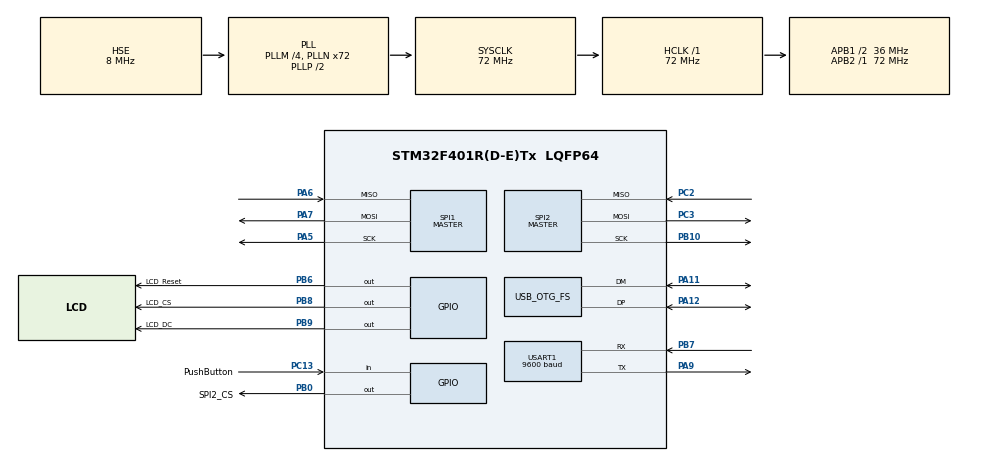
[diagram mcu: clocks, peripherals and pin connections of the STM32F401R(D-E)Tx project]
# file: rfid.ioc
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FATFS._MAX_SS=4096
FATFS._USE_LFN=2
FREERTOS.Tasks01=defaultTask,0,128,StartDefaultTask,Default,NULL,Dynamic,NULL,NULL
FREERTOS.configUSE_IDLE_HOOK=1
FREERTOS.configUSE_NEWLIB_REENTRANT=1
Mcu.Family=STM32F4
Mcu.Name=STM32F401R(D-E)Tx
Mcu.Package=LQFP64
NVIC.OTG_FS_IRQn=true\:5\:0\:false\:false\:true\:true\:false\:true
NVIC.PriorityGroup=NVIC_PRIORITYGROUP_4
NVIC.TIM1_UP_TIM10_IRQn=true\:15\:0\:false\:false\:true\:false\:false\:true
NVIC.TimeBase=TIM1_UP_TIM10_IRQn
NVIC.TimeBaseIP=TIM1
NVIC.USART1_IRQn=true\:5\:0\:false\:false\:true\:true\:true\:true
PA11.Mode=Device_Only
PA11.Signal=USB_OTG_FS_DM
PA12.Mode=Device_Only
PA12.Signal=USB_OTG_FS_DP
PA13.GPIO_Label=TMS
PA13.Mode=Serial_Wire
PA13.Signal=SYS_JTMS-SWDIO
PA14.GPIO_Label=TCK
PA14.Mode=Serial_Wire
PA14.Signal=SYS_JTCK-SWCLK
PA5.Mode=Full_Duplex_Master
PA5.Signal=SPI1_SCK
PA6.Mode=Full_Duplex_Master
PA6.Signal=SPI1_MISO
PA7.Mode=Full_Duplex_Master
PA7.Signal=SPI1_MOSI
PA9.Mode=Asynchronous
PA9.Signal=USART1_TX
PB0.GPIO_Label=SPI2_CS
PB0.Signal=GPIO_Output
PB10.Mode=Full_Duplex_Master
PB10.Signal=SPI2_SCK
PB3.GPIO_Label=SWO
PB3.Signal=SYS_JTDO-SWO
PB6.GPIO_Label=LCD_Reset
PB6.Signal=GPIO_Output
PB7.Mode=Asynchronous
PB7.Signal=USART1_RX
PB8.GPIO_Label=LCD_CS
PB8.Signal=GPIO_Output
PB9.GPIO_Label=LCD_DC
PB9.Signal=GPIO_Output
PC13-ANTI_TAMP.GPIO_Label=PushButton
PC13-ANTI_TAMP.Signal=GPIO_Input
PC14-OSC32_IN.Mode=LSE-External-Oscillator
PC14-OSC32_IN.Signal=RCC_OSC32_IN
PC15-OSC32_OUT.Mode=LSE-External-Oscillator
PC15-OSC32_OUT.Signal=RCC_OSC32_OUT
PC2.Mode=Full_Duplex_Master
PC2.Signal=SPI2_MISO
PC3.Mode=Full_Duplex_Master
PC3.Signal=SPI2_MOSI
PH0\ -\ OSC_IN.Mode=HSE-External-Clock-Source
PH0\ -\ OSC_IN.Signal=RCC_OSC_IN
PH1\ -\ OSC_OUT.Mode=HSE-External-Clock-Source
PH1\ -\ OSC_OUT.Signal=RCC_OSC_OUT
ProjectManager.HeapSize=0x200
ProjectManager.StackSize=0x400
ProjectManager.TargetToolchain=STM32CubeIDE
RCC.48MHZClocksFreq_Value=48000000
RCC.AHBFreq_Value=72000000
RCC.APB1CLKDivider=RCC_HCLK_DIV2
RCC.APB1Freq_Value=36000000
RCC.APB1TimFreq_Value=72000000
RCC.APB2Freq_Value=72000000
RCC.APB2TimFreq_Value=72000000
RCC.CortexFreq_Value=72000000
RCC.HCLKFreq_Value=72000000
RCC.HSE_VALUE=8000000
RCC.HSI_VALUE=16000000
RCC.PLLM=4
RCC.PLLN=72
RCC.PLLQ=3
RCC.RCC_RTC_Clock_Source=RCC_RTCCLKSOURCE_LSE
RCC.RCC_RTC_Clock_SourceVirtual=RCC_RTCCLKSOURCE_LSE
RCC.SYSCLKFreq_VALUE=72000000
RCC.SYSCLKSource=RCC_SYSCLKSOURCE_PLLCLK
RCC.VCOOutputFreq_Value=144000000
SPI1.BaudRatePrescaler=SPI_BAUDRATEPRESCALER_4
SPI1.Direction=SPI_DIRECTION_2LINES
SPI1.Mode=SPI_MODE_MASTER
SPI1.VirtualType=VM_MASTER
SPI2.BaudRatePrescaler=SPI_BAUDRATEPRESCALER_16
SPI2.Direction=SPI_DIRECTION_2LINES
SPI2.Mode=SPI_MODE_MASTER
SPI2.VirtualType=VM_MASTER
USART1.BaudRate=9600
USART1.VirtualMode=VM_ASYNC
USB_DEVICE.CLASS_NAME_FS=CUSTOM_HID
USB_DEVICE.CUSTOM_HID_FS_BINTERVAL=0xA
USB_DEVICE.USBD_CUSTOMHID_OUTREPORT_BUF_SIZE-CUSTOM_HID_FS=64
USB_DEVICE.USBD_CUSTOM_HID_REPORT_DESC_SIZE-CUSTOM_HID_FS=64
USB_DEVICE.VirtualMode-CUSTOM_HID_FS=CustomHid
USB_DEVICE.VirtualModeFS=Custom_Hid_FS
USB_OTG_FS.VirtualMode=Device_Only
VP_FATFS_VS_Generic.Mode=User_defined
VP_FREERTOS_VS_CMSIS_V1.Mode=CMSIS_V1
VP_RTC_VS_RTC_Activate.Mode=RTC_Enabled
VP_SYS_VS_tim1.Mode=TIM1
VP_USB_DEVICE_VS_USB_DEVICE_CUSTOM_HID_FS.Mode=CUSTOM_HID_FS
board=NUCLEO-F401RE

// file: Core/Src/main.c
/* USER CODE BEGIN Header */
/**
  ******************************************************************************
  * @file           : main.c
  * @brief          : Main program body
  ******************************************************************************
  * @attention
  *
  * <h2><center>&copy; Copyright (c) 2021 STMicroelectronics.
  * All rights reserved.</center></h2>
  *
  * This software component is licensed by ST under BSD 3-Clause license,
  * the "License"; You may not use this file except in compliance with the
  * License. You may obtain a copy of the License at:
  *                        opensource.org/licenses/BSD-3-Clause
  *
  ******************************************************************************
  */
/* USER CODE END Header */
#include "main.h"
#include "cmsis_os.h"
#include "fatfs.h"
#include "usb_device.h"
#include "usb_device.h"

/* USER CODE BEGIN PD */
#define configSDHandler_STACK_SIZE	2000
/* USER CODE END PD */

RTC_HandleTypeDef hrtc;

SPI_HandleTypeDef hspi1;
SPI_HandleTypeDef hspi2;

UART_HandleTypeDef huart1;

osThreadId defaultTaskHandle;
/* USER CODE BEGIN PV */
extern _flagsSd flagsSd;

//FATFS fs;
//FIL fil;
//FRESULT fresult;

extern uint8_t textName[16];
extern uint8_t logSentence[17];
uint8_t textRead[10+5+MAXLEN_SURNAME+MAXLEN_NAME+4];
char *temp;
extern uint8_t USB_PC_STATUS;

extern _flagsDisplay flagsDisplay;

uint8_t TickSD;
/* USER CODE END PV */

void SystemClock_Config(void);
static void MX_GPIO_Init(void);
static void MX_USART1_UART_Init(void);
static void MX_RTC_Init(void);
static void MX_SPI1_Init(void);
static void MX_SPI2_Init(void);
void StartDefaultTask(void const * argument);

int main(void)
{

  /* MCU Configuration--------------------------------------------------------*/

  /* Reset of all peripherals, Initializes the Flash interface and the Systick. */
  HAL_Init();

  /* Configure the system clock */
  SystemClock_Config();

  /* Initialize all configured peripherals */
  MX_GPIO_Init();
  MX_USART1_UART_Init();
  MX_RTC_Init();
  MX_SPI1_Init();
  MX_SPI2_Init();
  MX_FATFS_Init();

  /* Create the thread(s) */
  /* definition and creation of defaultTask */
  osThreadDef(defaultTask, StartDefaultTask, osPriorityNormal, 0, 128);
  defaultTaskHandle = osThreadCreate(osThread(defaultTask), NULL);

  /* USER CODE BEGIN RTOS_THREADS */
  /* add threads, ... */

  xTaskCreate((void *)taskSD_Handler		, "Manejo SD"		, configSDHandler_STACK_SIZE, NULL, tskIDLE_PRIORITY+1, NULL);
  xTaskCreate((void *)taskRTC_Handler		, "Manejo RTC"		, configMINIMAL_STACK_SIZE	, NULL, tskIDLE_PRIORITY+2, NULL);
  xTaskCreate((void *)taskDiplay_Handler	, "Manejo Display"	, configMINIMAL_STACK_SIZE	, NULL, tskIDLE_PRIORITY+2, NULL);
  xTaskCreate((void *)taskRfid_Handler		, "Manejo RFID"		, configMINIMAL_STACK_SIZE	, NULL, tskIDLE_PRIORITY+4, NULL);
  xTaskCreate((void *)taskSystem_StateMachine, "Manejo FSM"	, configMINIMAL_STACK_SIZE	, NULL, tskIDLE_PRIORITY+3, NULL);
  ///AGREGADOS POR JUAN

  /* USER CODE END RTOS_THREADS */

  /* Start scheduler */
  osKernelStart();

  /* We should never get here as control is now taken by the scheduler */
  /* Infinite loop */
  /* USER CODE BEGIN WHILE */
  vTaskStartScheduler();

 	while (1)
 	{

    /* USER CODE END WHILE */

 	}
}

void SystemClock_Config(void)
{
  RCC_OscInitTypeDef RCC_OscInitStruct = {0};
  RCC_ClkInitTypeDef RCC_ClkInitStruct = {0};

  /** Configure the main internal regulator output voltage
  */
  __HAL_RCC_PWR_CLK_ENABLE();
  __HAL_PWR_VOLTAGESCALING_CONFIG(PWR_REGULATOR_VOLTAGE_SCALE2);
  /** Initializes the RCC Oscillators according to the specified parameters
  * in the RCC_OscInitTypeDef structure.
  */
  RCC_OscInitStruct.OscillatorType = RCC_OSCILLATORTYPE_HSE|RCC_OSCILLATORTYPE_LSE;
  RCC_OscInitStruct.HSEState = RCC_HSE_BYPASS;
  RCC_OscInitStruct.LSEState = RCC_LSE_ON;
  RCC_OscInitStruct.PLL.PLLState = RCC_PLL_ON;
  RCC_OscInitStruct.PLL.PLLSource = RCC_PLLSOURCE_HSE;
  RCC_OscInitStruct.PLL.PLLM = 4;
  RCC_OscInitStruct.PLL.PLLN = 72;
  RCC_OscInitStruct.PLL.PLLP = RCC_PLLP_DIV2;
  RCC_OscInitStruct.PLL.PLLQ = 3;
  if (HAL_RCC_OscConfig(&RCC_OscInitStruct) != HAL_OK)
  {
    Error_Handler();
  }
  /** Initializes the CPU, AHB and APB buses clocks
  */
  RCC_ClkInitStruct.ClockType = RCC_CLOCKTYPE_HCLK|RCC_CLOCKTYPE_SYSCLK
                              |RCC_CLOCKTYPE_PCLK1|RCC_CLOCKTYPE_PCLK2;
  RCC_ClkInitStruct.SYSCLKSource = RCC_SYSCLKSOURCE_PLLCLK;
  RCC_ClkInitStruct.AHBCLKDivider = RCC_SYSCLK_DIV1;
  RCC_ClkInitStruct.APB1CLKDivider = RCC_HCLK_DIV2;
  RCC_ClkInitStruct.APB2CLKDivider = RCC_HCLK_DIV1;

  if (HAL_RCC_ClockConfig(&RCC_ClkInitStruct, FLASH_LATENCY_2) != HAL_OK)
  {
    Error_Handler();
  }
}

static void MX_RTC_Init(void)
{

  /** Initialize RTC Only
  */
  hrtc.Instance = RTC;
  hrtc.Init.HourFormat = RTC_HOURFORMAT_24;
  hrtc.Init.AsynchPrediv = 127;
  hrtc.Init.SynchPrediv = 255;
  hrtc.Init.OutPut = RTC_OUTPUT_DISABLE;
  hrtc.Init.OutPutPolarity = RTC_OUTPUT_POLARITY_HIGH;
  hrtc.Init.OutPutType = RTC_OUTPUT_TYPE_OPENDRAIN;
  if (HAL_RTC_Init(&hrtc) != HAL_OK)
  {
    Error_Handler();
  }

}

static void MX_SPI1_Init(void)
{

  /* SPI1 parameter configuration*/
  hspi1.Instance = SPI1;
  hspi1.Init.Mode = SPI_MODE_MASTER;
  hspi1.Init.Direction = SPI_DIRECTION_2LINES;
  hspi1.Init.DataSize = SPI_DATASIZE_8BIT;
  hspi1.Init.CLKPolarity = SPI_POLARITY_LOW;
  hspi1.Init.CLKPhase = SPI_PHASE_1EDGE;
  hspi1.Init.NSS = SPI_NSS_SOFT;
  hspi1.Init.BaudRatePrescaler = SPI_BAUDRATEPRESCALER_4;
  hspi1.Init.FirstBit = SPI_FIRSTBIT_MSB;
  hspi1.Init.TIMode = SPI_TIMODE_DISABLE;
  hspi1.Init.CRCCalculation = SPI_CRCCALCULATION_DISABLE;
  hspi1.Init.CRCPolynomial = 10;
  if (HAL_SPI_Init(&hspi1) != HAL_OK)
  {
    Error_Handler();
  }

}

static void MX_SPI2_Init(void)
{

  /* SPI2 parameter configuration*/
  hspi2.Instance = SPI2;
  hspi2.Init.Mode = SPI_MODE_MASTER;
  hspi2.Init.Direction = SPI_DIRECTION_2LINES;
  hspi2.Init.DataSize = SPI_DATASIZE_8BIT;
  hspi2.Init.CLKPolarity = SPI_POLARITY_LOW;
  hspi2.Init.CLKPhase = SPI_PHASE_1EDGE;
  hspi2.Init.NSS = SPI_NSS_SOFT;
  hspi2.Init.BaudRatePrescaler = SPI_BAUDRATEPRESCALER_16;
  hspi2.Init.FirstBit = SPI_FIRSTBIT_MSB;
  hspi2.Init.TIMode = SPI_TIMODE_DISABLE;
  hspi2.Init.CRCCalculation = SPI_CRCCALCULATION_DISABLE;
  hspi2.Init.CRCPolynomial = 10;
  if (HAL_SPI_Init(&hspi2) != HAL_OK)
  {
    Error_Handler();
  }

}

static void MX_USART1_UART_Init(void)
{

  huart1.Instance = USART1;
  huart1.Init.BaudRate = 9600;
  huart1.Init.WordLength = UART_WORDLENGTH_8B;
  huart1.Init.StopBits = UART_STOPBITS_1;
  huart1.Init.Parity = UART_PARITY_NONE;
  huart1.Init.Mode = UART_MODE_TX_RX;
  huart1.Init.HwFlowCtl = UART_HWCONTROL_NONE;
  huart1.Init.OverSampling = UART_OVERSAMPLING_16;
  if (HAL_UART_Init(&huart1) != HAL_OK)
  {
    Error_Handler();
  }

}

static void MX_GPIO_Init(void)
{
  GPIO_InitTypeDef GPIO_InitStruct = {0};

  /* GPIO Ports Clock Enable */
  __HAL_RCC_GPIOC_CLK_ENABLE();
  __HAL_RCC_GPIOH_CLK_ENABLE();
  __HAL_RCC_GPIOA_CLK_ENABLE();
  __HAL_RCC_GPIOB_CLK_ENABLE();

  /*Configure GPIO pin Output Level */
  HAL_GPIO_WritePin(GPIOB, SPI2_CS_Pin|LCD_Reset_Pin|LCD_CS_Pin|LCD_DC_Pin, GPIO_PIN_RESET);

  /*Configure GPIO pin : PushButton_Pin */
  GPIO_InitStruct.Pin = PushButton_Pin;
  GPIO_InitStruct.Mode = GPIO_MODE_INPUT;
  GPIO_InitStruct.Pull = GPIO_NOPULL;
  HAL_GPIO_Init(PushButton_GPIO_Port, &GPIO_InitStruct);

  /*Configure GPIO pins : SPI2_CS_Pin LCD_Reset_Pin LCD_CS_Pin LCD_DC_Pin */
  GPIO_InitStruct.Pin = SPI2_CS_Pin|LCD_Reset_Pin|LCD_CS_Pin|LCD_DC_Pin;
  GPIO_InitStruct.Mode = GPIO_MODE_OUTPUT_PP;
  GPIO_InitStruct.Pull = GPIO_NOPULL;
  GPIO_InitStruct.Speed = GPIO_SPEED_FREQ_LOW;
  HAL_GPIO_Init(GPIOB, &GPIO_InitStruct);

}

void StartDefaultTask(void const * argument)
{
  /* init code for USB_DEVICE */
  MX_USB_DEVICE_Init();
  for(;;)
  {
    osDelay(1);
  }
}

void HAL_TIM_PeriodElapsedCallback(TIM_HandleTypeDef *htim)
{
  if (htim->Instance == TIM1) {
    HAL_IncTick();
  }
}

void Error_Handler(void)
{
  __disable_irq();
  while (1)
  {
  }
}

/************************ (C) COPYRIGHT STMicroelectronics *****END OF FILE****/

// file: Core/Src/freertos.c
/* USER CODE BEGIN Header */
/**
  ******************************************************************************
  * File Name          : freertos.c
  * Description        : Code for freertos applications
  ******************************************************************************
  * @attention
  *
  * <h2><center>&copy; Copyright (c) 2021 STMicroelectronics.
  * All rights reserved.</center></h2>
  *
  * This software component is licensed by ST under Ultimate Liberty license
  * SLA0044, the "License"; You may not use this file except in compliance with
  * the License. You may obtain a copy of the License at:
  *                             www.st.com/SLA0044
  *
  ******************************************************************************
  */
/* USER CODE END Header */

#include "FreeRTOS.h"
#include "task.h"
#include "main.h"

/* GetIdleTaskMemory prototype (linked to static allocation support) */
void vApplicationGetIdleTaskMemory( StaticTask_t **ppxIdleTaskTCBBuffer, StackType_t **ppxIdleTaskStackBuffer, uint32_t *pulIdleTaskStackSize );

/* Hook prototypes */
void vApplicationIdleHook(void);

/* USER CODE BEGIN 2 */
__weak void vApplicationIdleHook( void )
{
   /* vApplicationIdleHook() will only be called if configUSE_IDLE_HOOK is set
   to 1 in FreeRTOSConfig.h. It will be called on each iteration of the idle
   task. It is essential that code added to this hook function never attempts
   to block in any way (for example, call xQueueReceive() with a block time
   specified, or call vTaskDelay()). If the application makes use of the
   vTaskDelete() API function (as this demo application does) then it is also
   important that vApplicationIdleHook() is permitted to return to its calling
   function, because it is the responsibility of the idle task to clean up
   memory allocated by the kernel to any task that has since been deleted. */
}
/* USER CODE END 2 */

/* USER CODE BEGIN GET_IDLE_TASK_MEMORY */
static StaticTask_t xIdleTaskTCBBuffer;
static StackType_t xIdleStack[configMINIMAL_STACK_SIZE];

void vApplicationGetIdleTaskMemory( StaticTask_t **ppxIdleTaskTCBBuffer, StackType_t **ppxIdleTaskStackBuffer, uint32_t *pulIdleTaskStackSize )
{
  *ppxIdleTaskTCBBuffer = &xIdleTaskTCBBuffer;
  *ppxIdleTaskStackBuffer = &xIdleStack[0];
  *pulIdleTaskStackSize = configMINIMAL_STACK_SIZE;
  /* place for user code */
}
/* USER CODE END GET_IDLE_TASK_MEMORY */

/************************ (C) COPYRIGHT STMicroelectronics *****END OF FILE****/
